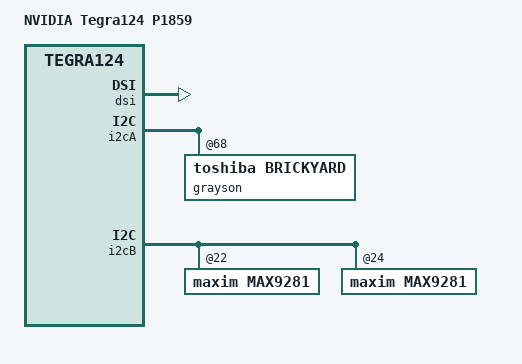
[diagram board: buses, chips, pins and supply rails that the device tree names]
/*
 * arch/arm/boot/dts/tegra124-p1859.dts
 *
 * Copyright (c) 2013-2015, NVIDIA CORPORATION.  All rights reserved.
 *
 * This program is free software; you can redistribute it and/or modify
 * it under the terms of the GNU General Public License as published by
 * the Free Software Foundation; version 2 of the License.
 *
 * This program is distributed in the hope that it will be useful, but WITHOUT
 * ANY WARRANTY; without even the implied warranty of MERCHANTABILITY or
 * FITNESS FOR A PARTICULAR PURPOSE.  See the GNU General Public License for
 * more details.
 *
 * You should have received a copy of the GNU General Public License along
 * with this program; if not, write to the Free Software Foundation, Inc.,
 * 51 Franklin Street, Fifth Floor, Boston, MA  02110-1301, USA.
 *
 */

 /dts-v1/;

#include "tegra124-p1859.dtsi"
#include "panel-grayson-dsi-rx.dtsi"

/*
 * E1860 Jetson Pro Base Board
 * - has a VCM2.0 socket for P1859 with VCM3.0-T124 MCM
 * - has a breakout board socket that P1892 with Grayson can seat.
 * - use "nvidia,p1859" for comaptibility with GVS tests
 */
/ {
	model = "NVIDIA Tegra124 P1859";
	compatible = "nvidia,p1859", "nvidia,tegra124";
	nvidia,dtsfilename = __FILE__;
	#address-cells = <2>;
	#size-cells = <2>;

	host1x {
		/* DC0->DP & DC1->HDMI
		   or DC0->HDMI & DC1->DSI->Grayson */
		dsi {
			status = "okay";
			nvidia,dsi-controller-vs = <DSI_VS_1>;
			panel-grayson-dsi-rx {
				status = "okay";
			};
		};
	};

	/*
	 * P1892 EBB breakout board
	 */
	bd-p1892 {
		compatible = "nvidia,p1892";
		status = "okay";

		i2cA: i2c@7000c000 {
			grayson@68 {
				compatible = "toshiba,brickyard", "nvidia,grayson";
			};
		};
		i2cB: i2c@7000c400 {
			max9281@22 {
				compatible = "maxim,max9281";
			};
			max9281@24 {
				compatible = "maxim,max9281";
			};
		};
	};
};
